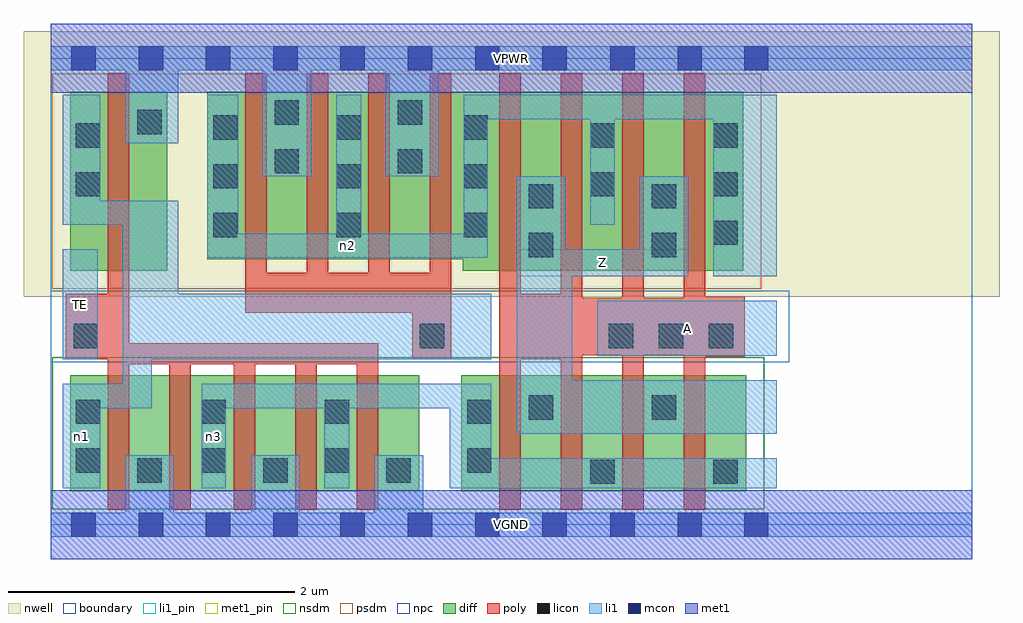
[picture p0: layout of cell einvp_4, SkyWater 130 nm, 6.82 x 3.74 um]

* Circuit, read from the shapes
.subckt einvp_4 A TE VGND VPWR Z n1 n2 n3
XM1 VGND TE n1 VSUBS sky130_fd_pr__nfet_01v8 w=0.81 l=0.15
XM2 n3 TE VGND VSUBS sky130_fd_pr__nfet_01v8 w=0.81 l=0.15 m=4
XM3 Z A n3 VSUBS sky130_fd_pr__nfet_01v8 w=0.81 l=0.15 m=4
XM4 VPWR TE n1 n4 sky130_fd_pr__pfet_01v8 w=1.25 l=0.15
XM5 VPWR n1 n2 n4 sky130_fd_pr__pfet_01v8 w=1.17 l=0.15 m=4
XM6 Z A n2 n4 sky130_fd_pr__pfet_01v8 w=1.25 l=0.15 m=4
.ends

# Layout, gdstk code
import gdstk
lib = gdstk.Library(unit=1e-6, precision=1e-09)
def R(c, l, rs):  # rectangles x0, y0, x1, y1
    for r in rs: c.add(gdstk.rectangle(r[:2], r[2:], *l))
def A(c, l, x, y, w, h, nx, ny, dx, dy):  # array of equal rectangles
    R(c, l, [(x+i*dx, y+j*dy, x+i*dx+w, y+j*dy+h) for i in range(nx) for j in range(ny)])
nwell = (64, 20)
diff = (65, 20)
poly = (66, 20)
licon = (66, 44)
li1_pin = (67, 16)
li1 = (67, 20)
mcon = (67, 44)
met1_pin = (68, 16)
met1 = (68, 20)
nsdm = (93, 44)
psdm = (94, 20)
npc = (95, 20)
boundary = (235, 4)

einvp_4 = lib.new_cell('einvp_4')
R(einvp_4, nwell, [(-0.19,1.595,6.63,3.45), (0,1.595,6.44,3.45)])
R(einvp_4, diff, [(0.135,0.235,2.575,1.045), (2.87,0.235,4.86,1.045), (0.135,1.775,0.815,3.025), (2.88,1.775,4.84,3.025), (1.095,1.855,4.84,3.025)])
A(einvp_4, poly, 1.28, 0.105, 0.15, 1.165, 3, 1, 0.43, 0)
A(einvp_4, poly, 3.135, 0.105, 0.15, 3.05, 4, 1, 0.43, 0)
A(einvp_4, poly, 1.36, 1.48, 0.15, 1.675, 3, 1, 0.43, 0)
R(einvp_4, poly, [(0.4,0.105,0.55,3.155), (0.83,0.105,0.98,1.27), (0.4,1.12,2.29,1.27), (0.105,1.155,0.55,1.615), (2.525,1.155,2.8,1.76), (2.65,1.155,2.8,3.155), (3.135,1.155,3.715,1.615), (4.425,1.175,4.85,1.595), (3.135,1.185,4.85,1.585), (1.36,1.48,2.8,1.76)])
A(einvp_4, licon, 3.9, 1.235, 0.17, 0.17, 3, 1, 0.35, 0)
A(einvp_4, licon, 4.63, 1.955, 0.17, 0.17, 1, 3, 0, 0.34)
A(einvp_4, licon, 1.135, 2.01, 0.17, 0.17, 1, 3, 0, 0.34)
A(einvp_4, licon, 1.995, 2.01, 0.17, 0.17, 1, 3, 0, 0.34)
A(einvp_4, licon, 2.885, 2.01, 0.17, 0.17, 1, 3, 0, 0.34)
R(einvp_4, licon, [(3.77,0.285,3.94,0.455), (4.63,0.285,4.8,0.455), (0.605,0.295,0.775,0.465), (1.485,0.295,1.655,0.465), (2.345,0.295,2.515,0.465), (0.175,0.365,0.345,0.535), (1.055,0.365,1.225,0.535), (1.915,0.365,2.085,0.535), (2.91,0.365,3.08,0.535), (0.175,0.705,0.345,0.875), (1.055,0.705,1.225,0.875), (1.915,0.705,2.085,0.875), (2.91,0.705,3.08,0.875), (3.34,0.735,3.51,0.905), (4.2,0.735,4.37,0.905), (0.16,1.235,0.33,1.405), (2.58,1.235,2.75,1.405), (3.34,1.87,3.51,2.04), (4.2,1.87,4.37,2.04), (3.34,2.21,3.51,2.38), (4.2,2.21,4.37,2.38), (0.175,2.295,0.345,2.465), (3.77,2.295,3.94,2.465), (1.565,2.455,1.735,2.625), (2.425,2.455,2.595,2.625), (0.175,2.635,0.345,2.805), (3.77,2.635,3.94,2.805), (0.605,2.73,0.775,2.9), (1.565,2.795,1.735,2.965), (2.425,2.795,2.595,2.965)])
R(einvp_4, li1_pin, [(0.085,1.155,0.33,1.925), (3.82,1.18,5.075,1.565), (3.255,1.735,4.455,1.925)])
R(einvp_4, li1, [(0,-0.085,6.44,0.085), (0.52,-0.085,0.86,0.485), (1.4,-0.085,1.74,0.485), (2.26,-0.085,2.605,0.485), (0.085,0.255,0.345,0.985), (1.055,0.255,1.225,0.985), (1.91,0.255,2.085,0.985), (2.79,0.255,5.075,0.465), (2.79,0.255,3.08,0.985), (3.255,0.635,3.595,2.435), (3.255,0.635,5.075,1.01), (3.255,0.635,3.645,1.925), (0.085,0.815,0.705,0.985), (0.505,0.815,0.705,2.265), (1.055,0.815,3.08,0.985), (0.085,1.155,0.33,1.925), (0.505,1.155,3.08,1.615), (0.505,1.155,0.89,2.265), (3.82,1.18,5.075,1.565), (3.255,1.735,4.455,1.925), (4.115,1.735,4.455,2.435), (4.63,1.735,5.075,3.005), (1.095,1.865,3.055,2.035), (1.095,1.865,1.31,3.005), (1.995,1.865,2.17,3.005), (2.885,1.865,3.055,3.005), (0.085,2.095,0.345,3.005), (0.085,2.095,0.89,2.265), (3.77,2.095,3.94,3.005), (1.48,2.435,1.82,3.345), (2.34,2.435,2.71,3.345), (0.52,2.665,0.89,3.345), (2.885,2.835,5.075,3.005), (0,3.175,6.44,3.345)])
A(einvp_4, mcon, 0.145, -0.085, 0.17, 0.17, 8, 2, 0.47, 3.26)
R(einvp_4, mcon, [(3.91,-0.085,4.08,0.085), (4.38,-0.085,4.55,0.085), (4.845,-0.085,5.015,0.085), (3.91,3.175,4.08,3.345), (4.38,3.175,4.55,3.345), (4.845,3.175,5.015,3.345)])
R(einvp_4, met1_pin, [(0,-0.24,6.44,0.24), (0,3.02,6.44,3.5)])
R(einvp_4, met1, [(0,-0.24,6.44,0.24), (0,3.02,6.44,3.5)])
R(einvp_4, nsdm, [(0.01,0.11,4.985,1.17)])
R(einvp_4, psdm, [(0.01,1.65,4.965,3.15)])
R(einvp_4, npc, [(0,1.135,5.16,1.635)])
R(einvp_4, boundary, [(0,0,6.44,3.26)])
einvp_4.add(gdstk.Label('A', (4.447,1.372), layer=67, texttype=5))
einvp_4.add(gdstk.Label('TE', (0.207,1.54), layer=67, texttype=5))
einvp_4.add(gdstk.Label('Z', (3.855,1.83), layer=67, texttype=5))
einvp_4.add(gdstk.Label('n3', (1.14,0.62), layer=67, texttype=5))
einvp_4.add(gdstk.Label('n1', (0.215,0.62), layer=67, texttype=5))
einvp_4.add(gdstk.Label('n2', (2.075,1.95), layer=67, texttype=5))
einvp_4.add(gdstk.Label('VPWR', (3.22,3.26), layer=68, texttype=5))
einvp_4.add(gdstk.Label('VGND', (3.22,0), layer=68, texttype=5))
einvp_4.add(gdstk.Label('A', (4.447,1.372), layer=67, texttype=16))
einvp_4.add(gdstk.Label('TE', (0.207,1.54), layer=67, texttype=16))
einvp_4.add(gdstk.Label('Z', (3.855,1.83), layer=67, texttype=16))
einvp_4.add(gdstk.Label('VPWR', (3.22,3.26), layer=68, texttype=16))
einvp_4.add(gdstk.Label('VGND', (3.22,0), layer=68, texttype=16))

lib.write_gds('einvp_4.gds')
